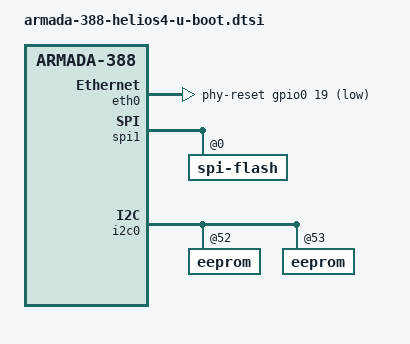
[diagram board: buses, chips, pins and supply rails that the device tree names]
// SPDX-License-Identifier: GPL-2.0+

&eth0 {
	phy-reset-gpios = <&gpio0 19 GPIO_ACTIVE_LOW>;
};

&spi1 {
	u-boot,dm-spl;
	spi-flash@0 {
		u-boot,dm-spl;
	};
};

&w25q32 {
	u-boot,dm-spl;
};

&gpio0 {
	u-boot,dm-spl;
};

&ahci0 {
	u-boot,dm-spl;
};

&ahci1 {
	u-boot,dm-spl;
};

&sdhci {
	u-boot,dm-spl;
};

&i2c0 {
	u-boot,dm-spl;

	eeprom@52 {
		u-boot,dm-spl;
	};

	eeprom@53 {
		u-boot,dm-spl;
	};
};

#include "mvebu-u-boot.dtsi"
